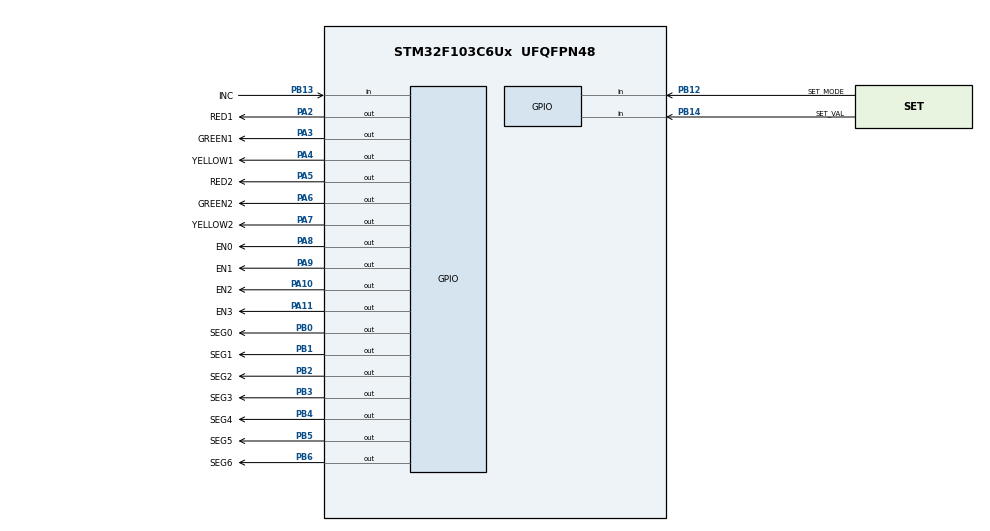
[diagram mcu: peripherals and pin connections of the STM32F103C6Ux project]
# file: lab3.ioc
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Mcu.Family=STM32F1
Mcu.Name=STM32F103C6Ux
Mcu.Package=UFQFPN48
NVIC.PriorityGroup=NVIC_PRIORITYGROUP_4
NVIC.TIM2_IRQn=true\:0\:0\:false\:false\:true\:true\:true
PA10.GPIO_Label=EN2
PA10.Signal=GPIO_Output
PA11.GPIO_Label=EN3
PA11.Signal=GPIO_Output
PA2.GPIO_Label=RED1
PA2.Signal=GPIO_Output
PA3.GPIO_Label=GREEN1
PA3.Signal=GPIO_Output
PA4.GPIO_Label=YELLOW1
PA4.Signal=GPIO_Output
PA5.GPIO_Label=RED2
PA5.Signal=GPIO_Output
PA6.GPIO_Label=GREEN2
PA6.Signal=GPIO_Output
PA7.GPIO_Label=YELLOW2
PA7.Signal=GPIO_Output
PA8.GPIO_Label=EN0
PA8.Signal=GPIO_Output
PA9.GPIO_Label=EN1
PA9.Signal=GPIO_Output
PB0.GPIO_Label=SEG0
PB0.Signal=GPIO_Output
PB1.GPIO_Label=SEG1
PB1.Signal=GPIO_Output
PB12.GPIO_Label=SET_MODE
PB12.GPIO_PuPd=GPIO_PULLUP
PB12.Signal=GPIO_Input
PB13.GPIO_Label=INC
PB13.GPIO_PuPd=GPIO_PULLUP
PB13.Signal=GPIO_Input
PB14.GPIO_Label=SET_VAL
PB14.GPIO_PuPd=GPIO_PULLUP
PB14.Signal=GPIO_Input
PB2.GPIO_Label=SEG2
PB2.Signal=GPIO_Output
PB3.GPIO_Label=SEG3
PB3.Signal=GPIO_Output
PB4.GPIO_Label=SEG4
PB4.Signal=GPIO_Output
PB5.GPIO_Label=SEG5
PB5.Signal=GPIO_Output
PB6.GPIO_Label=SEG6
PB6.Signal=GPIO_Output
ProjectManager.HeapSize=0x200
ProjectManager.StackSize=0x400
ProjectManager.TargetToolchain=STM32CubeIDE
RCC.APB1Freq_Value=8000000
RCC.APB2Freq_Value=8000000
TIM2.Period=9
TIM2.Prescaler=7999
VP_SYS_VS_ND.Mode=No_Debug
VP_TIM2_VS_ClockSourceINT.Mode=Internal
board=custom

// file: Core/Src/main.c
/* USER CODE BEGIN Header */
/**
  ******************************************************************************
  * @file           : main.c
  * @brief          : Main program body
  ******************************************************************************
  * @attention
  *
  * <h2><center>&copy; Copyright (c) 2023 STMicroelectronics.
  * All rights reserved.</center></h2>
  *
  * This software component is licensed by ST under BSD 3-Clause license,
  * the "License"; You may not use this file except in compliance with the
  * License. You may obtain a copy of the License at:
  *                        opensource.org/licenses/BSD-3-Clause
  *
  ******************************************************************************
  */
/* USER CODE END Header */
#include "main.h"

/* USER CODE BEGIN Includes */
#include "software_timer.h"
#include "button.h"
#include "fsm_traffic_light.h"
#include "fsm_manual.h"
/* USER CODE END Includes */

TIM_HandleTypeDef htim2;

void SystemClock_Config(void);
static void MX_GPIO_Init(void);
static void MX_TIM2_Init(void);

int main(void)
{

  /* MCU Configuration--------------------------------------------------------*/

  /* Reset of all peripherals, Initializes the Flash interface and the Systick. */
  HAL_Init();

  /* Configure the system clock */
  SystemClock_Config();

  /* Initialize all configured peripherals */
  MX_GPIO_Init();
  MX_TIM2_Init();
  /* USER CODE BEGIN 2 */
	HAL_TIM_Base_Start_IT(&htim2);
	setTimer3(1);
	setTimer4(1);
	timerRoad1 = r_val;
	timerRoad2 = g_val;
	r_inc=r_val;
	g_inc=g_val;
	y_inc=y_val;
  /* USER CODE END 2 */

  /* Infinite loop */
  /* USER CODE BEGIN WHILE */
//  setTimer1(50);
//  setTimer2(100);
  while (1)
  {
    /* USER CODE END WHILE */

    /* USER CODE BEGIN 3 */
	  if (timer3_flag == 1){

		  setTimer3(10);
		  updateLedBuffer();
	  }
	  if (timer4_flag == 1){
		  setTimer4(10);
		  displaySignal(index_led++);
		  if (index_led >= 4) index_led=0;
	  }
	  fsm_traffic_light();
	  fsm_manual_run();

  }
  /* USER CODE END 3 */
}

void SystemClock_Config(void)
{
  RCC_OscInitTypeDef RCC_OscInitStruct = {0};
  RCC_ClkInitTypeDef RCC_ClkInitStruct = {0};

  /** Initializes the RCC Oscillators according to the specified parameters
  * in the RCC_OscInitTypeDef structure.
  */
  RCC_OscInitStruct.OscillatorType = RCC_OSCILLATORTYPE_HSI;
  RCC_OscInitStruct.HSIState = RCC_HSI_ON;
  RCC_OscInitStruct.HSICalibrationValue = RCC_HSICALIBRATION_DEFAULT;
  RCC_OscInitStruct.PLL.PLLState = RCC_PLL_NONE;
  if (HAL_RCC_OscConfig(&RCC_OscInitStruct) != HAL_OK)
  {
    Error_Handler();
  }
  /** Initializes the CPU, AHB and APB buses clocks
  */
  RCC_ClkInitStruct.ClockType = RCC_CLOCKTYPE_HCLK|RCC_CLOCKTYPE_SYSCLK
                              |RCC_CLOCKTYPE_PCLK1|RCC_CLOCKTYPE_PCLK2;
  RCC_ClkInitStruct.SYSCLKSource = RCC_SYSCLKSOURCE_HSI;
  RCC_ClkInitStruct.AHBCLKDivider = RCC_SYSCLK_DIV1;
  RCC_ClkInitStruct.APB1CLKDivider = RCC_HCLK_DIV1;
  RCC_ClkInitStruct.APB2CLKDivider = RCC_HCLK_DIV1;

  if (HAL_RCC_ClockConfig(&RCC_ClkInitStruct, FLASH_LATENCY_0) != HAL_OK)
  {
    Error_Handler();
  }
}

static void MX_TIM2_Init(void)
{

  TIM_ClockConfigTypeDef sClockSourceConfig = {0};
  TIM_MasterConfigTypeDef sMasterConfig = {0};

  htim2.Instance = TIM2;
  htim2.Init.Prescaler = 7999;
  htim2.Init.CounterMode = TIM_COUNTERMODE_UP;
  htim2.Init.Period = 9;
  htim2.Init.ClockDivision = TIM_CLOCKDIVISION_DIV1;
  htim2.Init.AutoReloadPreload = TIM_AUTORELOAD_PRELOAD_DISABLE;
  if (HAL_TIM_Base_Init(&htim2) != HAL_OK)
  {
    Error_Handler();
  }
  sClockSourceConfig.ClockSource = TIM_CLOCKSOURCE_INTERNAL;
  if (HAL_TIM_ConfigClockSource(&htim2, &sClockSourceConfig) != HAL_OK)
  {
    Error_Handler();
  }
  sMasterConfig.MasterOutputTrigger = TIM_TRGO_RESET;
  sMasterConfig.MasterSlaveMode = TIM_MASTERSLAVEMODE_DISABLE;
  if (HAL_TIMEx_MasterConfigSynchronization(&htim2, &sMasterConfig) != HAL_OK)
  {
    Error_Handler();
  }

}

static void MX_GPIO_Init(void)
{
  GPIO_InitTypeDef GPIO_InitStruct = {0};

  /* GPIO Ports Clock Enable */
  __HAL_RCC_GPIOA_CLK_ENABLE();
  __HAL_RCC_GPIOB_CLK_ENABLE();

  /*Configure GPIO pin Output Level */
  HAL_GPIO_WritePin(GPIOA, RED1_Pin|GREEN1_Pin|YELLOW1_Pin|RED2_Pin
                          |GREEN2_Pin|YELLOW2_Pin|EN0_Pin|EN1_Pin
                          |EN2_Pin|EN3_Pin, GPIO_PIN_RESET);

  /*Configure GPIO pin Output Level */
  HAL_GPIO_WritePin(GPIOB, SEG0_Pin|SEG1_Pin|SEG2_Pin|SEG3_Pin
                          |SEG4_Pin|SEG5_Pin|SEG6_Pin, GPIO_PIN_RESET);

  /*Configure GPIO pins : RED1_Pin GREEN1_Pin YELLOW1_Pin RED2_Pin
                           GREEN2_Pin YELLOW2_Pin EN0_Pin EN1_Pin
                           EN2_Pin EN3_Pin */
  GPIO_InitStruct.Pin = RED1_Pin|GREEN1_Pin|YELLOW1_Pin|RED2_Pin
                          |GREEN2_Pin|YELLOW2_Pin|EN0_Pin|EN1_Pin
                          |EN2_Pin|EN3_Pin;
  GPIO_InitStruct.Mode = GPIO_MODE_OUTPUT_PP;
  GPIO_InitStruct.Pull = GPIO_NOPULL;
  GPIO_InitStruct.Speed = GPIO_SPEED_FREQ_LOW;
  HAL_GPIO_Init(GPIOA, &GPIO_InitStruct);

  /*Configure GPIO pins : SEG0_Pin SEG1_Pin SEG2_Pin SEG3_Pin
                           SEG4_Pin SEG5_Pin SEG6_Pin */
  GPIO_InitStruct.Pin = SEG0_Pin|SEG1_Pin|SEG2_Pin|SEG3_Pin
                          |SEG4_Pin|SEG5_Pin|SEG6_Pin;
  GPIO_InitStruct.Mode = GPIO_MODE_OUTPUT_PP;
  GPIO_InitStruct.Pull = GPIO_NOPULL;
  GPIO_InitStruct.Speed = GPIO_SPEED_FREQ_LOW;
  HAL_GPIO_Init(GPIOB, &GPIO_InitStruct);

  /*Configure GPIO pins : SET_MODE_Pin INC_Pin SET_VAL_Pin */
  GPIO_InitStruct.Pin = SET_MODE_Pin|INC_Pin|SET_VAL_Pin;
  GPIO_InitStruct.Mode = GPIO_MODE_INPUT;
  GPIO_InitStruct.Pull = GPIO_PULLUP;
  HAL_GPIO_Init(GPIOB, &GPIO_InitStruct);

}

/* USER CODE BEGIN 4 */
void HAL_TIM_PeriodElapsedCallback(TIM_HandleTypeDef *htim){
	timerRun();
	getKeyInput();
}
/* USER CODE END 4 */

void Error_Handler(void)
{
  __disable_irq();
  while (1)
  {
  }
}

/************************ (C) COPYRIGHT STMicroelectronics *****END OF FILE****/
